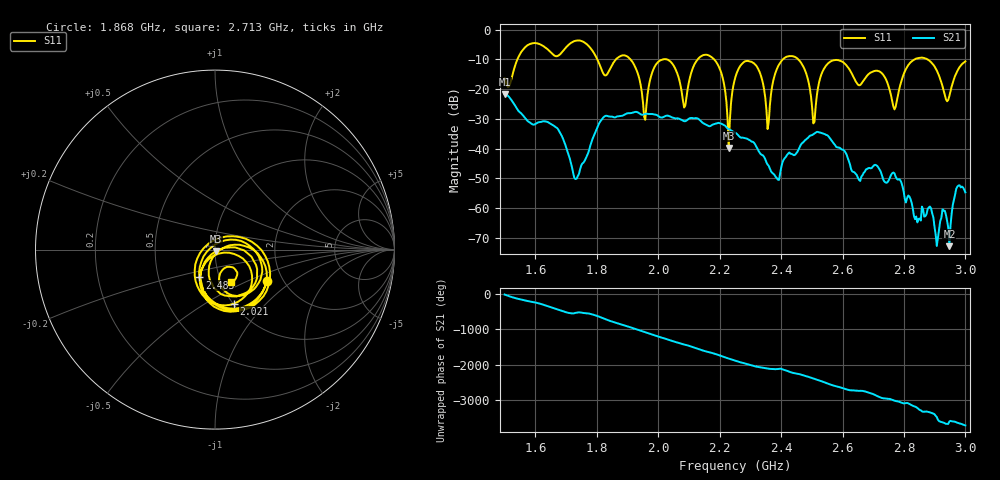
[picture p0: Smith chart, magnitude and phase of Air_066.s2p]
# HZ S RI R 50
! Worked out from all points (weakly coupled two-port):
!   404 points, 1.5 GHz to 3 GHz, reference 50 ohm
!   highest |S21| = -21.68 dB at 1.5 GHz (marker M1); lowest = -72.9 dB at 2.948 GHz (marker M2)
!   lowest |S11| = -39.9 dB at 2.23 GHz (marker M3), VSWR 1.02, Z = 50.4 - j0.945 ohm
!   |S11| at or under -10 dB: 2.182 GHz to 2.406 GHz (223.7 MHz wide, 9.75 % of centre); 2.456 GHz to 2.835 GHz (379.2 MHz wide, 14.3 % of centre); 2.876 GHz to end of sweep (the widest 3 of 7)
!   S12 and S22 are empty: the file has one direction only
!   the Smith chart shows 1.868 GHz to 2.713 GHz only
!   S11 on the Smith chart (normalised r, x): 1.868 GHz: 1.66, -0.65; 2.021 GHz: 1.01, -0.68; 2.483 GHz: 0.80, -0.26; 2.713 GHz: 1.11, -0.42
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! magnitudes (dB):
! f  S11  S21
! 1.5 GHz  -16.4  -21.7
! 1.578 GHz  -5.0  -31.0
! 1.753 GHz  -3.9  -45.0
! 1.868 GHz  -9.4  -29.2
! 1.958 GHz  -30.3  -28.3
! 2.002 GHz  -10.6  -29.2
! 2.021 GHz  -9.9  -29.2
! 2.084 GHz  -26.2  -30.8
! 2.177 GHz  -9.5  -31.9
! 2.23 GHz  -39.9  -33.5
! 2.252 GHz  -15.8  -34.7
! 2.315 GHz  -11.7  -38.5
! 2.356 GHz  -33.4  -45.4
! 2.386 GHz  -13.4  -49.9
! 2.483 GHz  -15.0  -36.9
! 2.501 GHz  -26.4  -35.5
! 2.561 GHz  -10.7  -36.8
! 2.713 GHz  -13.8  -45.9
! 2.751 GHz  -19.3  -50.7
! 2.862 GHz  -9.5  -60.5
! 2.948 GHz  -22.3  -72.9
! 3 GHz  -10.7  -54.8
